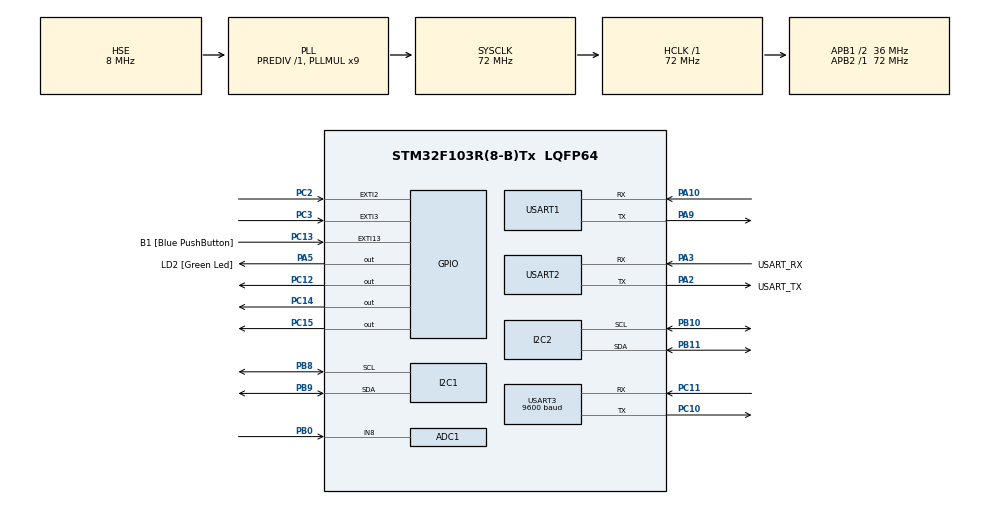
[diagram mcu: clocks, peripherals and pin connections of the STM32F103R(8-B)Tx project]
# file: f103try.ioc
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ADC1.Channel-1\#ChannelRegularConversion=ADC_CHANNEL_8
ADC1.NbrOfConversionFlag=1
ADC1.Rank-1\#ChannelRegularConversion=1
ADC1.SamplingTime-1\#ChannelRegularConversion=ADC_SAMPLETIME_1CYCLE_5
ADC1.master=1
I2C2.I2C_Mode=I2C_Standard
Mcu.Family=STM32F1
Mcu.Name=STM32F103R(8-B)Tx
Mcu.Package=LQFP64
NVIC.EXTI15_10_IRQn=true\:0\:0\:false\:false\:true\:true\:true\:true
NVIC.EXTI2_IRQn=true\:0\:0\:false\:false\:true\:true\:true\:true
NVIC.EXTI3_IRQn=true\:0\:0\:false\:false\:true\:true\:true\:true
NVIC.PriorityGroup=NVIC_PRIORITYGROUP_4
NVIC.USART3_IRQn=true\:0\:0\:false\:false\:true\:true\:true\:true
PA10.Mode=Asynchronous
PA10.Signal=USART1_RX
PA13.GPIO_Label=TMS
PA13.Mode=Serial_Wire
PA13.Signal=SYS_JTMS-SWDIO
PA14.GPIO_Label=TCK
PA14.Mode=Serial_Wire
PA14.Signal=SYS_JTCK-SWCLK
PA2.GPIO_Label=USART_TX
PA2.GPIO_Mode=GPIO_MODE_AF_PP
PA2.GPIO_PuPd=GPIO_NOPULL
PA2.GPIO_Speed=GPIO_SPEED_FREQ_LOW
PA2.Mode=Asynchronous
PA2.Signal=USART2_TX
PA3.GPIO_Label=USART_RX
PA3.GPIO_Mode=GPIO_MODE_AF_PP
PA3.GPIO_PuPd=GPIO_NOPULL
PA3.GPIO_Speed=GPIO_SPEED_FREQ_LOW
PA3.Mode=Asynchronous
PA3.Signal=USART2_RX
PA5.GPIO_Label=LD2 [Green Led]
PA5.GPIO_ModeDefaultOutputPP=GPIO_MODE_OUTPUT_PP
PA5.GPIO_PuPd=GPIO_NOPULL
PA5.GPIO_Speed=GPIO_SPEED_FREQ_LOW
PA5.Signal=GPIO_Output
PA9.Mode=Asynchronous
PA9.Signal=USART1_TX
PB0.Signal=ADCx_IN8
PB10.Mode=I2C
PB10.Signal=I2C2_SCL
PB11.Mode=I2C
PB11.Signal=I2C2_SDA
PB3.GPIO_Label=SWO
PB3.Signal=SYS_JTDO-TRACESWO
PB8.Mode=I2C
PB8.Signal=I2C1_SCL
PB9.Mode=I2C
PB9.Signal=I2C1_SDA
PC10.Mode=Asynchronous
PC10.Signal=USART3_TX
PC11.Mode=Asynchronous
PC11.Signal=USART3_RX
PC12.Signal=GPIO_Output
PC13-TAMPER-RTC.GPIO_Label=B1 [Blue PushButton]
PC13-TAMPER-RTC.GPIO_PuPd=GPIO_NOPULL
PC13-TAMPER-RTC.Signal=GPXTI13
PC14-OSC32_IN.Signal=GPIO_Output
PC15-OSC32_OUT.GPIO_ModeDefaultOutputPP=GPIO_MODE_OUTPUT_OD
PC15-OSC32_OUT.GPIO_PuPd=GPIO_NOPULL
PC15-OSC32_OUT.GPIO_Speed=GPIO_SPEED_FREQ_LOW
PC15-OSC32_OUT.Signal=GPIO_Output
PC2.GPIO_PuPd=GPIO_PULLUP
PC2.Signal=GPXTI2
PC3.GPIO_PuPd=GPIO_PULLUP
PC3.Signal=GPXTI3
PD0-OSC_IN.Mode=HSE-External-Oscillator
PD0-OSC_IN.Signal=RCC_OSC_IN
PD1-OSC_OUT.Mode=HSE-External-Oscillator
PD1-OSC_OUT.Signal=RCC_OSC_OUT
ProjectManager.HeapSize=0x200
ProjectManager.StackSize=0x400
ProjectManager.TargetToolchain=STM32CubeIDE
RCC.ADCPresc=RCC_ADCPCLK2_DIV8
RCC.AHBFreq_Value=72000000
RCC.APB1CLKDivider=RCC_HCLK_DIV2
RCC.APB1Freq_Value=36000000
RCC.APB1TimFreq_Value=72000000
RCC.APB2Freq_Value=72000000
RCC.APB2TimFreq_Value=72000000
RCC.HCLKFreq_Value=72000000
RCC.PLLMUL=RCC_PLL_MUL9
RCC.PLLSourceVirtual=RCC_PLLSOURCE_HSE
RCC.RTCClockSelection=RCC_RTCCLKSOURCE_LSE
RCC.SYSCLKFreq_VALUE=72000000
RCC.SYSCLKSource=RCC_SYSCLKSOURCE_PLLCLK
RCC.USBFreq_Value=72000000
SH.ADCx_IN8.0=ADC1_IN8,IN8
TIM1.Period=0xffff-1
TIM1.Prescaler=72-1
TIM3.Period=20
TIM3.Prescaler=7200-1
USART1.VirtualMode=VM_ASYNC
USART2.VirtualMode=VM_ASYNC
USART3.BaudRate=9600
USART3.VirtualMode=VM_ASYNC
VP_TIM1_VS_ClockSourceINT.Mode=Internal
VP_TIM3_VS_ClockSourceINT.Mode=Internal
board=NUCLEO-F103RB

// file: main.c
/* USER CODE BEGIN Header */
/**
  ******************************************************************************
  * @file           : main.c
  * @brief          : Main program body
  ******************************************************************************
  * @attention
  *
  * Copyright (c) 2024 STMicroelectronics.
  * All rights reserved.
  *
  * This software is licensed under terms that can be found in the LICENSE file
  * in the root directory of this software component.
  * If no LICENSE file comes with this software, it is provided AS-IS.
  *
  ******************************************************************************
  */
/* USER CODE END Header */
#include "main.h"

/* USER CODE BEGIN Includes */
#include <stdio.h>
#include <string.h>
#include <math.h>
#include "bmp280.h"

#include "UartRingbuffer.h"
#include "NMEA.h"

//#include "hdc1080.h"
/* USER CODE END Includes */

ADC_HandleTypeDef hadc1;

I2C_HandleTypeDef hi2c1;
I2C_HandleTypeDef hi2c2;

TIM_HandleTypeDef htim1;
TIM_HandleTypeDef htim3;

UART_HandleTypeDef huart1;
UART_HandleTypeDef huart2;
UART_HandleTypeDef huart3;

/* USER CODE BEGIN PV */

//Variabile definite pentru BMP280
BMP280_HandleTypedef bmp280;
float humidity;
float sea_hPa=101325;

/* USER CODE END PV */

void SystemClock_Config(void);
static void MX_GPIO_Init(void);
static void MX_USART2_UART_Init(void);
static void MX_TIM1_Init(void);
static void MX_I2C1_Init(void);
static void MX_I2C2_Init(void);
static void MX_ADC1_Init(void);
static void MX_USART3_UART_Init(void);
static void MX_USART1_UART_Init(void);
static void MX_TIM3_Init(void);
/* USER CODE BEGIN PFP */
#define PUTCHAR_PROTOTYPE int __io_putchar(int ch)
/* USER CODE END PFP */

/* USER CODE BEGIN 0 */

/*Printf translation to UART*/
PUTCHAR_PROTOTYPE
{
  HAL_UART_Transmit(&huart2, (uint8_t *)&ch, 1, 0xFFFF);

  return ch;
}

//Definirea variabilelor DHT22
#define DHT22_PIN GPIO_PIN_12
#define DHT22_PORT GPIOC
uint8_t RHD, RHI, TCD, TCI, SUM;
uint32_t pMillis, cMillis;
float temp=0;
float humid=0;

//Definirea funcțiilor DHT22
uint8_t DHT22_Start(void);
uint8_t DHT22_Read();

//Variabile BMP
float BMP_Temp=0;
float BMP_Press=0;
float BMP_Alt =0;

/*Variabile HDC1080*/
uint16_t HDC_temp;
uint16_t HDC_humi;
uint8_t read_data[2];
uint16_t reg=0;

//Declararea parametrilor pentru GPS
char GGA[80];
GPSSTRUCT gpsData;

/*Definirea parametrilor LCD*/
#define LCD_I2C_ADDR 0x27
#define RS_BIT 0
#define EN_BIT 2
#define BL_BIT 3
#define D4_BIT 4
#define D5_BIT 5
#define D6_BIT 6
#define D7_BIT 7
#define LCD_ROWS 2
#define LCD_COLS 16
uint8_t backlight_state = 1;
extern volatile uint8_t press_count;

/*Declararea funcțiilor LCD*/
void lcd_write_nibble(uint8_t nibble, uint8_t rs);
void lcd_send_cmd(uint8_t cmd);
void lcd_send_data(uint8_t data);
void lcd_init();
void lcd_write_string(char *str);
void lcd_set_cursor(uint8_t row, uint8_t column);
void lcd_clear(void);
void lcd_backlight(uint8_t state);

//delay function in microseconds
void delay (uint16_t time)
{
	__HAL_TIM_SET_COUNTER(&htim1, 0);
	while ((__HAL_TIM_GET_COUNTER(&htim1))<time);
}

#define HDC1080_ADDRESS 0x40 << 1  // Adresa HDC1080
HAL_StatusTypeDef HDC1080_Init(void);
HAL_StatusTypeDef HDC1080_ReadTempHumidity(uint16_t *temperature, uint16_t *humidity);

#define CCS811_ADDRESS 0x5A << 1   // Adresa CCS811 (0x5A << 1 pentru formatul HAL)
HAL_StatusTypeDef CCS811_SoftReset(void);
HAL_StatusTypeDef CCS811_Init(void);
HAL_StatusTypeDef CCS811_ReadData(uint16_t *eco2, uint16_t *tvoc);
void CCS811_Env(float temperature, float humidity);

char ESP_msg[50];

/* USER CODE END 0 */

int main(void)
{

  /* MCU Configuration--------------------------------------------------------*/

  /* Reset of all peripherals, Initializes the Flash interface and the Systick. */
  HAL_Init();

  /* Configure the system clock */
  SystemClock_Config();

  /* Initialize all configured peripherals */
  MX_GPIO_Init();
  MX_USART2_UART_Init();
  MX_TIM1_Init();
  MX_I2C1_Init();
  MX_I2C2_Init();
  MX_ADC1_Init();
  MX_USART3_UART_Init();
  MX_USART1_UART_Init();
  MX_TIM3_Init();
  /* USER CODE BEGIN 2 */

  HAL_TIM_Base_Start(&htim1);
  HAL_ADCEx_Calibration_Start(&hadc1);

  PWR->CR |= PWR_CR_DBP;

  // Dezactivează LSE
  RCC->BDCR &= ~RCC_BDCR_LSEON;

  // Dezactivează alimentarea domeniului de backup
  RCC->BDCR &= ~RCC_BDCR_BDRST;

  //Inițializare LCD
  lcd_init();
  lcd_backlight(1); // Turn on backlight
  char int_to_str_1[20];
  char int_to_str_2[20];

  //Inițializare BMP280
  bmp280_init_default_params(&bmp280.params);
  bmp280.addr = BMP280_I2C_ADDRESS_0;
  bmp280.i2c = &hi2c2;

  while (!bmp280_init(&bmp280, &bmp280.params)) {
  	printf("BMP280 initialization failed\n\r");
  	HAL_Delay(2000);
  	break;
  }

  // Inițializare Buffer circular
  Ringbuf_init();
  HAL_Delay(500);

  // Inițializare HDC1080 și CCS811
  if(HDC1080_Init()!= HAL_OK){
	  printf("Nu merge HDC\n\r");
	  HAL_Delay(1000);
  }
  if (CCS811_Init() != HAL_OK) {
	  printf("Nu merge CCS\n\r");
  }
  uint16_t eco2, tvoc;
  float tempC, humRH;
  float latitude=44.4,longitutde=26.06;
  float UVIndex=0;

  /* USER CODE END 2 */

  /* Infinite loop */
  /* USER CODE BEGIN WHILE */
  while (1)
  {
	  //DHT22 ---------------------------------------------------------------------
	  if(DHT22_Start())
	  {
		  RHI = DHT22_Read();
		  RHD = DHT22_Read();
		  TCI = DHT22_Read();
		  TCD = DHT22_Read();
		  SUM = DHT22_Read();
		  printf("RHI: %u RHD: %u TCI: %u TCD %u SUM: %u \n\r",RHI,RHD, TCI,TCD,SUM);

		  if(TCI>127)
		  {
		  temp= (float)TCD/10*(-1);
		  }
		  else
		  {
		  temp = (float)((TCI<<8)|TCD)/10;
		  }
		  humid = (float)((RHI<<8|RHD))/10;
		  printf("%.1f %.1f\n\r",temp,humid);
	  }
	  HAL_Delay(1000);
	  //------------------------------------------------------------------------

	  //GY-NEO6MV2--------------------------------------------------------------
	  if(Wait_for("GGA")==1){
		  Copy_upto("*", GGA);
		  decodeGGA(GGA,&gpsData.ggastruct);
		  if(gpsData.ggastruct.lcation.latitude!=0){
			  latitude=gpsData.ggastruct.lcation.latitude;
		  }
		  if(gpsData.ggastruct.lcation.longitude!=0){
			  longitutde=gpsData.ggastruct.lcation.longitude;
		  }
		  printf("lat: %.5lf",gpsData.ggastruct.lcation.latitude);
		  printf(" long: %.5lf \n\r",gpsData.ggastruct.lcation.longitude);
	  }
	  HAL_Delay(1000);
	  //------------------------------------------------------------------------

	  //BMP280 -----------------------------------------------------------------
	  while (!bmp280_read_float(&bmp280, &BMP_Temp, &BMP_Press, &humidity)) {
	  	printf("Temperature/pressure reading failed\n\r");
	  	HAL_Delay(2000);
	  }

	  BMP_Alt= 44330*(1.0- pow(BMP_Press/sea_hPa, 0.1903));
	  printf("Pressure: %.2f Pa, Temp: %.2f C, Alt: %.2f \n\r",BMP_Press, BMP_Temp, BMP_Alt);

	  HAL_Delay(500);
	  //------------------------------------------------------------------------

	  // HDC și CCS811 ---------------------------------------------------------
	  if (HDC1080_ReadTempHumidity(&HDC_temp, &HDC_humi) == HAL_OK)
	  {
		  tempC = (HDC_temp / 65536.0) * 165.0 - 40.0;
	      humRH = (HDC_humi / 65536.0) * 100.0;
	      printf("HDC_temp: %.2f  HDC_humi: %.2f \n\r",tempC,humRH);
	      CCS811_Env(tempC, humRH);
	  }
	  if (CCS811_ReadData(&eco2, &tvoc) == HAL_OK) {
		  printf("ECO: %u TVOC: %u \n\r",eco2,tvoc);
	  }
	  HAL_Delay(1000);
	  //------------------------------------------------------------------------

	  // UV light sensor--------------------------------------------------------
	  HAL_ADC_Start(&hadc1);
	  if (HAL_ADC_PollForConversion(&hadc1, HAL_MAX_DELAY) == HAL_OK)
	  {
	        uint32_t adcValue = HAL_ADC_GetValue(&hadc1);
	        float voltage = (adcValue / 4095.0) * 5;
	        float current= voltage/4.3;
	        UVIndex=voltage/0.1;
	        printf("UV voltage: %.2f UV phcurrent: %.2f Index: %.0f\n\r",voltage, current, voltage/0.1);
	  }
	  //------------------------------------------------------------------------

	  // ESP8266-----------------------------------------------------------------------------
	  snprintf(ESP_msg,sizeof(ESP_msg),"%.2f,%.2f,%.2f,%.1f,%u,%u,%.5f,%.5f\n",temp,humid,BMP_Press,UVIndex,eco2,tvoc,latitude,longitutde);
	  HAL_UART_Transmit(&huart1, (uint8_t*)ESP_msg, strlen(ESP_msg), HAL_MAX_DELAY);
	  //------------------------------------------------------------------------

	  //LCD --------------------------------------------------------------------
  	  switch(press_count){
  	  case 0:
  		  	  char *str1 = "Temperature:";
  		  	  char *str2 = "Humidity:";

  		  	  sprintf(int_to_str_1, "%.1f", tempC);
  		  	  lcd_clear();
  		  	  lcd_set_cursor(0, 0);
  		  	  lcd_write_string(str1);
  		  	  lcd_set_cursor(0, 12);
  		  	  lcd_write_string(int_to_str_1);

  		  	  sprintf(int_to_str_2, "%.1f", humRH);
  		  	  lcd_set_cursor(1, 0);
  		  	  lcd_write_string(str2);
  		  	  lcd_set_cursor(1, 12);
  		  	  lcd_write_string(int_to_str_2);

  		  	  memset(int_to_str_1, 0, sizeof(int_to_str_1));
  		  	  memset(int_to_str_2, 0, sizeof(int_to_str_2));
  		  break;
  	  case 1:
  		  	  char *str3 = "eCO2:";
  		  	  char *str4 = "TVOC:";

  		  	  sprintf(int_to_str_1, "%d", eco2);
  		  	  lcd_clear();
  		  	  lcd_set_cursor(0, 0);
  		  	  lcd_write_string(str3);
  		  	  lcd_set_cursor(0, 10);
  		  	  lcd_write_string(int_to_str_1);

  		  	  sprintf(int_to_str_2, "%d", tvoc);
  		  	  lcd_set_cursor(1, 0);
  		  	  lcd_write_string(str4);
  		  	  lcd_set_cursor(1, 10);
  		  	  lcd_write_string(int_to_str_2);

  		  	  memset(int_to_str_1, 0, sizeof(int_to_str_1));
  		  	  memset(int_to_str_2, 0, sizeof(int_to_str_2));
  		  break;
  	  case 2:
  		  	  char *str5 = "Pressure:";
  		  	  char *str6 = "UVI:";

  		  	  sprintf(int_to_str_1, "%.2f", BMP_Press);
  		  	  lcd_clear();
  		  	  lcd_set_cursor(0, 0);
  		  	  lcd_write_string(str5);
  		  	  lcd_set_cursor(0, 10);
  		  	  lcd_write_string(int_to_str_1);

  		  	  sprintf(int_to_str_2, "%.1f", UVIndex);
  		  	  lcd_set_cursor(1, 0);
  		  	  lcd_write_string(str6);
  		  	  lcd_set_cursor(1, 10);
  		  	  lcd_write_string(int_to_str_2);

  		  	  memset(int_to_str_1, 0, sizeof(int_to_str_1));
  		  	  memset(int_to_str_2, 0, sizeof(int_to_str_2));
  		  break;
  	  case 3:
  		  	  char *str7 = "Lat:";
  		  	  char *str8 = "Long:";

  		  	  sprintf(int_to_str_1, "%.4f", latitude);
  		  	  lcd_clear();
  		  	  lcd_set_cursor(0, 0);
  		  	  lcd_write_string(str7);
  		  	  lcd_set_cursor(0, 8);
  		  	  lcd_write_string(int_to_str_1);

  		  	  sprintf(int_to_str_2, "%.4f", longitutde);
  		  	  lcd_set_cursor(1, 0);
  		  	  lcd_write_string(str8);
  		  	  lcd_set_cursor(1, 8);
  		  	  lcd_write_string(int_to_str_2);

  		  	  memset(int_to_str_1, 0, sizeof(int_to_str_1));
  		  	  memset(int_to_str_2, 0, sizeof(int_to_str_2));
  		  break;
  	  }
  	//------------------------------------------------------------------------
  	// Buzzer-----------------------------------------------------------------
  	  if((UVIndex >= 7) || (eco2>=2300) || (tvoc>=500)){
  		HAL_GPIO_TogglePin(GPIOC, GPIO_PIN_15);
  		HAL_Delay(100);
  		HAL_GPIO_TogglePin(GPIOC, GPIO_PIN_15);
  		HAL_Delay(100);
  		HAL_GPIO_TogglePin(GPIOC, GPIO_PIN_15);
  		HAL_Delay(100);
  		HAL_GPIO_TogglePin(GPIOC, GPIO_PIN_15);
  		HAL_Delay(100);
  		HAL_GPIO_TogglePin(GPIOC, GPIO_PIN_15);
  		HAL_Delay(100);
  	  }
  	  //------------------------------------------------------------------------
    /* USER CODE END WHILE */

  }
}

void SystemClock_Config(void)
{
  RCC_OscInitTypeDef RCC_OscInitStruct = {0};
  RCC_ClkInitTypeDef RCC_ClkInitStruct = {0};
  RCC_PeriphCLKInitTypeDef PeriphClkInit = {0};

  /** Initializes the RCC Oscillators according to the specified parameters
  * in the RCC_OscInitTypeDef structure.
  */
  RCC_OscInitStruct.OscillatorType = RCC_OSCILLATORTYPE_HSE;
  RCC_OscInitStruct.HSEState = RCC_HSE_ON;
  RCC_OscInitStruct.HSEPredivValue = RCC_HSE_PREDIV_DIV1;
  RCC_OscInitStruct.HSIState = RCC_HSI_ON;
  RCC_OscInitStruct.PLL.PLLState = RCC_PLL_ON;
  RCC_OscInitStruct.PLL.PLLSource = RCC_PLLSOURCE_HSE;
  RCC_OscInitStruct.PLL.PLLMUL = RCC_PLL_MUL9;
  if (HAL_RCC_OscConfig(&RCC_OscInitStruct) != HAL_OK)
  {
    Error_Handler();
  }

  /** Initializes the CPU, AHB and APB buses clocks
  */
  RCC_ClkInitStruct.ClockType = RCC_CLOCKTYPE_HCLK|RCC_CLOCKTYPE_SYSCLK
                              |RCC_CLOCKTYPE_PCLK1|RCC_CLOCKTYPE_PCLK2;
  RCC_ClkInitStruct.SYSCLKSource = RCC_SYSCLKSOURCE_PLLCLK;
  RCC_ClkInitStruct.AHBCLKDivider = RCC_SYSCLK_DIV1;
  RCC_ClkInitStruct.APB1CLKDivider = RCC_HCLK_DIV2;
  RCC_ClkInitStruct.APB2CLKDivider = RCC_HCLK_DIV1;

  if (HAL_RCC_ClockConfig(&RCC_ClkInitStruct, FLASH_LATENCY_2) != HAL_OK)
  {
    Error_Handler();
  }
  PeriphClkInit.PeriphClockSelection = RCC_PERIPHCLK_ADC;
  PeriphClkInit.AdcClockSelection = RCC_ADCPCLK2_DIV8;
  if (HAL_RCCEx_PeriphCLKConfig(&PeriphClkInit) != HAL_OK)
  {
    Error_Handler();
  }
}

static void MX_ADC1_Init(void)
{

  ADC_ChannelConfTypeDef sConfig = {0};

  /** Common config
  */
  hadc1.Instance = ADC1;
  hadc1.Init.ScanConvMode = ADC_SCAN_DISABLE;
  hadc1.Init.ContinuousConvMode = DISABLE;
  hadc1.Init.DiscontinuousConvMode = DISABLE;
  hadc1.Init.ExternalTrigConv = ADC_SOFTWARE_START;
  hadc1.Init.DataAlign = ADC_DATAALIGN_RIGHT;
  hadc1.Init.NbrOfConversion = 1;
  if (HAL_ADC_Init(&hadc1) != HAL_OK)
  {
    Error_Handler();
  }

  /** Configure Regular Channel
  */
  sConfig.Channel = ADC_CHANNEL_8;
  sConfig.Rank = ADC_REGULAR_RANK_1;
  sConfig.SamplingTime = ADC_SAMPLETIME_1CYCLE_5;
  if (HAL_ADC_ConfigChannel(&hadc1, &sConfig) != HAL_OK)
  {
    Error_Handler();
  }

}

static void MX_I2C1_Init(void)
{

  hi2c1.Instance = I2C1;
  hi2c1.Init.ClockSpeed = 100000;
  hi2c1.Init.DutyCycle = I2C_DUTYCYCLE_2;
  hi2c1.Init.OwnAddress1 = 0;
  hi2c1.Init.AddressingMode = I2C_ADDRESSINGMODE_7BIT;
  hi2c1.Init.DualAddressMode = I2C_DUALADDRESS_DISABLE;
  hi2c1.Init.OwnAddress2 = 0;
  hi2c1.Init.GeneralCallMode = I2C_GENERALCALL_DISABLE;
  hi2c1.Init.NoStretchMode = I2C_NOSTRETCH_DISABLE;
  if (HAL_I2C_Init(&hi2c1) != HAL_OK)
  {
    Error_Handler();
  }

}

static void MX_I2C2_Init(void)
{

  hi2c2.Instance = I2C2;
  hi2c2.Init.ClockSpeed = 100000;
  hi2c2.Init.DutyCycle = I2C_DUTYCYCLE_2;
  hi2c2.Init.OwnAddress1 = 0;
  hi2c2.Init.AddressingMode = I2C_ADDRESSINGMODE_7BIT;
  hi2c2.Init.DualAddressMode = I2C_DUALADDRESS_DISABLE;
  hi2c2.Init.OwnAddress2 = 0;
  hi2c2.Init.GeneralCallMode = I2C_GENERALCALL_DISABLE;
  hi2c2.Init.NoStretchMode = I2C_NOSTRETCH_DISABLE;
  if (HAL_I2C_Init(&hi2c2) != HAL_OK)
  {
    Error_Handler();
  }

}

static void MX_TIM1_Init(void)
{

  TIM_ClockConfigTypeDef sClockSourceConfig = {0};
  TIM_MasterConfigTypeDef sMasterConfig = {0};

  htim1.Instance = TIM1;
  htim1.Init.Prescaler = 72-1;
  htim1.Init.CounterMode = TIM_COUNTERMODE_UP;
  htim1.Init.Period = 0xffff-1;
  htim1.Init.ClockDivision = TIM_CLOCKDIVISION_DIV1;
  htim1.Init.RepetitionCounter = 0;
  htim1.Init.AutoReloadPreload = TIM_AUTORELOAD_PRELOAD_DISABLE;
  if (HAL_TIM_Base_Init(&htim1) != HAL_OK)
  {
    Error_Handler();
  }
  sClockSourceConfig.ClockSource = TIM_CLOCKSOURCE_INTERNAL;
  if (HAL_TIM_ConfigClockSource(&htim1, &sClockSourceConfig) != HAL_OK)
  {
    Error_Handler();
  }
  sMasterConfig.MasterOutputTrigger = TIM_TRGO_RESET;
  sMasterConfig.MasterSlaveMode = TIM_MASTERSLAVEMODE_DISABLE;
  if (HAL_TIMEx_MasterConfigSynchronization(&htim1, &sMasterConfig) != HAL_OK)
  {
    Error_Handler();
  }

}

static void MX_TIM3_Init(void)
{

  TIM_ClockConfigTypeDef sClockSourceConfig = {0};
  TIM_MasterConfigTypeDef sMasterConfig = {0};

  htim3.Instance = TIM3;
  htim3.Init.Prescaler = 7200-1;
  htim3.Init.CounterMode = TIM_COUNTERMODE_UP;
  htim3.Init.Period = 20;
  htim3.Init.ClockDivision = TIM_CLOCKDIVISION_DIV1;
  htim3.Init.AutoReloadPreload = TIM_AUTORELOAD_PRELOAD_DISABLE;
  if (HAL_TIM_Base_Init(&htim3) != HAL_OK)
  {
    Error_Handler();
  }
  sClockSourceConfig.ClockSource = TIM_CLOCKSOURCE_INTERNAL;
  if (HAL_TIM_ConfigClockSource(&htim3, &sClockSourceConfig) != HAL_OK)
  {
    Error_Handler();
  }
  sMasterConfig.MasterOutputTrigger = TIM_TRGO_RESET;
  sMasterConfig.MasterSlaveMode = TIM_MASTERSLAVEMODE_DISABLE;
  if (HAL_TIMEx_MasterConfigSynchronization(&htim3, &sMasterConfig) != HAL_OK)
  {
    Error_Handler();
  }

}

static void MX_USART1_UART_Init(void)
{

  huart1.Instance = USART1;
  huart1.Init.BaudRate = 115200;
  huart1.Init.WordLength = UART_WORDLENGTH_8B;
  huart1.Init.StopBits = UART_STOPBITS_1;
  huart1.Init.Parity = UART_PARITY_NONE;
  huart1.Init.Mode = UART_MODE_TX_RX;
  huart1.Init.HwFlowCtl = UART_HWCONTROL_NONE;
  huart1.Init.OverSampling = UART_OVERSAMPLING_16;
  if (HAL_UART_Init(&huart1) != HAL_OK)
  {
    Error_Handler();
  }

}

static void MX_USART2_UART_Init(void)
{

  huart2.Instance = USART2;
  huart2.Init.BaudRate = 115200;
  huart2.Init.WordLength = UART_WORDLENGTH_8B;
  huart2.Init.StopBits = UART_STOPBITS_1;
  huart2.Init.Parity = UART_PARITY_NONE;
  huart2.Init.Mode = UART_MODE_TX_RX;
  huart2.Init.HwFlowCtl = UART_HWCONTROL_NONE;
  huart2.Init.OverSampling = UART_OVERSAMPLING_16;
  if (HAL_UART_Init(&huart2) != HAL_OK)
  {
    Error_Handler();
  }

}

static void MX_USART3_UART_Init(void)
{

  huart3.Instance = USART3;
  huart3.Init.BaudRate = 9600;
  huart3.Init.WordLength = UART_WORDLENGTH_8B;
  huart3.Init.StopBits = UART_STOPBITS_1;
  huart3.Init.Parity = UART_PARITY_NONE;
  huart3.Init.Mode = UART_MODE_TX_RX;
  huart3.Init.HwFlowCtl = UART_HWCONTROL_NONE;
  huart3.Init.OverSampling = UART_OVERSAMPLING_16;
  if (HAL_UART_Init(&huart3) != HAL_OK)
  {
    Error_Handler();
  }

}

static void MX_GPIO_Init(void)
{
  GPIO_InitTypeDef GPIO_InitStruct = {0};

  /* GPIO Ports Clock Enable */
  __HAL_RCC_GPIOC_CLK_ENABLE();
  __HAL_RCC_GPIOD_CLK_ENABLE();
  __HAL_RCC_GPIOA_CLK_ENABLE();
  __HAL_RCC_GPIOB_CLK_ENABLE();

  /*Configure GPIO pin Output Level */
  HAL_GPIO_WritePin(GPIOC, GPIO_PIN_14|GPIO_PIN_15|GPIO_PIN_12, GPIO_PIN_RESET);

  /*Configure GPIO pin Output Level */
  HAL_GPIO_WritePin(LD2_GPIO_Port, LD2_Pin, GPIO_PIN_RESET);

  /*Configure GPIO pin : B1_Pin */
  GPIO_InitStruct.Pin = B1_Pin;
  GPIO_InitStruct.Mode = GPIO_MODE_IT_RISING;
  GPIO_InitStruct.Pull = GPIO_NOPULL;
  HAL_GPIO_Init(B1_GPIO_Port, &GPIO_InitStruct);

  /*Configure GPIO pins : PC14 PC12 */
  GPIO_InitStruct.Pin = GPIO_PIN_14|GPIO_PIN_12;
  GPIO_InitStruct.Mode = GPIO_MODE_OUTPUT_PP;
  GPIO_InitStruct.Pull = GPIO_NOPULL;
  GPIO_InitStruct.Speed = GPIO_SPEED_FREQ_LOW;
  HAL_GPIO_Init(GPIOC, &GPIO_InitStruct);

  /*Configure GPIO pin : PC15 */
  GPIO_InitStruct.Pin = GPIO_PIN_15;
  GPIO_InitStruct.Mode = GPIO_MODE_OUTPUT_OD;
  GPIO_InitStruct.Pull = GPIO_NOPULL;
  GPIO_InitStruct.Speed = GPIO_SPEED_FREQ_LOW;
  HAL_GPIO_Init(GPIOC, &GPIO_InitStruct);

  /*Configure GPIO pins : PC2 PC3 */
  GPIO_InitStruct.Pin = GPIO_PIN_2|GPIO_PIN_3;
  GPIO_InitStruct.Mode = GPIO_MODE_IT_RISING;
  GPIO_InitStruct.Pull = GPIO_PULLUP;
  HAL_GPIO_Init(GPIOC, &GPIO_InitStruct);

  /*Configure GPIO pin : LD2_Pin */
  GPIO_InitStruct.Pin = LD2_Pin;
  GPIO_InitStruct.Mode = GPIO_MODE_OUTPUT_PP;
  GPIO_InitStruct.Pull = GPIO_NOPULL;
  GPIO_InitStruct.Speed = GPIO_SPEED_FREQ_LOW;
  HAL_GPIO_Init(LD2_GPIO_Port, &GPIO_InitStruct);

  /* EXTI interrupt init*/
  HAL_NVIC_SetPriority(EXTI2_IRQn, 0, 0);
  HAL_NVIC_EnableIRQ(EXTI2_IRQn);

  HAL_NVIC_SetPriority(EXTI3_IRQn, 0, 0);
  HAL_NVIC_EnableIRQ(EXTI3_IRQn);

  HAL_NVIC_SetPriority(EXTI15_10_IRQn, 0, 0);
  HAL_NVIC_EnableIRQ(EXTI15_10_IRQn);

}

/* USER CODE BEGIN 4 */

// Temperature and humidity sensor-----------------------------------------
uint8_t DHT22_Start(void)
{
	uint8_t Response=0;

	GPIO_InitTypeDef GPIO_InitStruct = {0};
	GPIO_InitStruct.Pin = DHT22_PIN;
	GPIO_InitStruct.Mode = GPIO_MODE_OUTPUT_PP;
	GPIO_InitStruct.Speed = GPIO_SPEED_FREQ_LOW;
	HAL_GPIO_Init(DHT22_PORT, &GPIO_InitStruct);

	HAL_GPIO_WritePin(DHT22_PORT, DHT22_PIN, 0);
	delay(18000);
	HAL_GPIO_WritePin(DHT22_PORT, DHT22_PIN, 1);
	delay(30);

	GPIO_InitStruct.Mode = GPIO_MODE_INPUT;
	GPIO_InitStruct.Pull = GPIO_PULLUP;
	HAL_GPIO_Init(DHT22_PORT, &GPIO_InitStruct);

	delay(40);
	if(!(HAL_GPIO_ReadPin(DHT22_PORT, DHT22_PIN)))
	{
		delay(80);
		if((HAL_GPIO_ReadPin(DHT22_PORT, DHT22_PIN)))Response=1;
		else Response=-1;
	}
	pMillis = HAL_GetTick();
	cMillis = HAL_GetTick();
	while ((HAL_GPIO_ReadPin (DHT22_PORT, DHT22_PIN)) && pMillis + 2 > cMillis)
    {
		cMillis = HAL_GetTick();
	}
	return Response;
}

uint8_t DHT22_Read()
{
	uint8_t x,y;
	for (x=0;x<8;x++)
	{
	    pMillis = HAL_GetTick();
	    cMillis = HAL_GetTick();
	    while (!(HAL_GPIO_ReadPin (DHT22_PORT, DHT22_PIN)) && pMillis + 2 > cMillis)
	    {
	      cMillis = HAL_GetTick();
	    }
	    delay(50);
	    if (!(HAL_GPIO_ReadPin (DHT22_PORT, DHT22_PIN)))
	      y&= ~(1<<(7-x));
	    else
	      y|= (1<<(7-x));
	    pMillis = HAL_GetTick();
	    cMillis = HAL_GetTick();
	    while ((HAL_GPIO_ReadPin (DHT22_PORT, DHT22_PIN)) && pMillis + 2 > cMillis)
	    {  // wait for the pin to go low
	      cMillis = HAL_GetTick();
	    }
	}
	return y;
}

HAL_StatusTypeDef HDC1080_Init(void) {
    uint8_t buffer[3];
    buffer[0] = 0x02;  // Adresa registrului de configurare
    buffer[1] = 0x10;  // Configurație: mod de achiziție umiditate și temperatură
    buffer[2] = 0x00;  // Configurație standard

    return HAL_I2C_Master_Transmit(&hi2c2, HDC1080_ADDRESS, buffer, 3, HAL_MAX_DELAY);
}

HAL_StatusTypeDef HDC1080_ReadTempHumidity(uint16_t *temperature, uint16_t *humidity) {
    uint8_t buffer[4];
    uint8_t command = 0x00;  // Comandă pentru a citi temperatura și umiditatea
    HAL_StatusTypeDef ret;

    // Trimite comanda pentru a citi temperatura și umiditatea
    ret = HAL_I2C_Master_Transmit(&hi2c2, HDC1080_ADDRESS, &command, 1, HAL_MAX_DELAY);
    if (ret != HAL_OK) {
        return ret;
    }

    // Asteapta timpul necesar pentru masurare (maxim 15 ms)
    HAL_Delay(15);

    // Citeste 4 octeti (2 pentru temperatura, 2 pentru umiditate)
    ret = HAL_I2C_Master_Receive(&hi2c2, HDC1080_ADDRESS, buffer, 4, HAL_MAX_DELAY);
    if (ret != HAL_OK) {
        return ret;
    }

    // Convertim valorile citite
    *temperature = (buffer[0] << 8) | buffer[1];
    *humidity = (buffer[2] << 8) | buffer[3];

    return HAL_OK;
}
//----------------------------------------------------------------------

//CCS811 functions------------------------------------------------------
HAL_StatusTypeDef CCS811_SoftReset(void) {
    uint8_t buffer[4] = {0x11, 0xE5, 0x72, 0x8A};  // Secvența de reset

    HAL_StatusTypeDef ret = HAL_I2C_Mem_Write(&hi2c2, CCS811_ADDRESS, 0xFF, I2C_MEMADD_SIZE_8BIT, buffer, 4, HAL_MAX_DELAY);
    HAL_Delay(100);  // Așteaptă după reset
    if (ret != HAL_OK) {
    	printf("Failed to perform software reset: %d\n\r", ret);
    }
    return ret;
}

HAL_StatusTypeDef CCS811_Init(void) {
    HAL_StatusTypeDef ret;

    // Soft reset pentru senzor
    ret = CCS811_SoftReset();
    if (ret != HAL_OK) {
        return ret;
    }

    // Verifică starea senzorului după reset
    uint8_t status;
    ret = HAL_I2C_Mem_Read(&hi2c2, CCS811_ADDRESS, 0x00, I2C_MEMADD_SIZE_8BIT, &status, 1, HAL_MAX_DELAY);
    //printf("Status215 %u \n\r",status);
    if (ret != HAL_OK) {
    	return ret;
    }

    uint8_t error_data=0;
    // Read the error register
    ret = HAL_I2C_Mem_Read(&hi2c2, CCS811_ADDRESS, 0xE0, I2C_MEMADD_SIZE_8BIT, &error_data, 1, HAL_MAX_DELAY);
    //printf("Status223 %u ERROR: %u \n\r",status,error_data);
    if (ret != HAL_OK) {
    	printf("ERR STAT: %u\n\r",error_data);
    	return ret;
    }

    uint8_t app_start_cmd =0xF4; //Starting App
    ret = HAL_I2C_Mem_Write(&hi2c2, CCS811_ADDRESS, app_start_cmd,1,0,0,HAL_MAX_DELAY);
    if (ret != HAL_OK) {
    	printf("Failed to start application mode: %d\n\r", ret);
        return ret;
    }

    uint8_t desired_mode= 0x10;
    ret= HAL_I2C_Mem_Write(&hi2c2, CCS811_ADDRESS, 0x01, I2C_MEMADD_SIZE_8BIT, &desired_mode, 1, HAL_MAX_DELAY);
    //printf("%d",ret);

    uint8_t mode = 0;
    ret = HAL_I2C_Mem_Read(&hi2c2, CCS811_ADDRESS, 0x01, I2C_MEMADD_SIZE_8BIT, &mode, 1, HAL_MAX_DELAY);
    //printf("Mode : %u \n\r",mode);

    HAL_Delay(1000);

    return HAL_OK;
}

HAL_StatusTypeDef CCS811_ReadData(uint16_t *eco2, uint16_t *tvoc) {
    uint8_t buffer[8];
    uint8_t status;
    HAL_StatusTypeDef ret;

    // Verificare disponibilitate date
    ret = HAL_I2C_Mem_Read(&hi2c2, CCS811_ADDRESS, 0x00, I2C_MEMADD_SIZE_8BIT, &status, 1, HAL_MAX_DELAY);
    //printf("Status %u \n\r",status);
    if (ret != HAL_OK) {
           return ret;
       }
    // Citire date
    ret = HAL_I2C_Mem_Read(&hi2c2, CCS811_ADDRESS, 0x02, I2C_MEMADD_SIZE_8BIT, buffer, 8, HAL_MAX_DELAY);
    //printf("ajunge pana aici\n\r");
    if (ret != HAL_OK) {
        return ret;
    }

    *eco2 = (buffer[0] << 8) | buffer[1];
    *tvoc = (buffer[2] << 8) | buffer[3];

    ret = HAL_I2C_Mem_Read(&hi2c2, CCS811_ADDRESS, 0x00, I2C_MEMADD_SIZE_8BIT, &status, 1, HAL_MAX_DELAY);
        //printf("Status %u \n\r",status);
        if (ret != HAL_OK) {
               return ret;
           }

    return HAL_OK;
}

void CCS811_Env(float temperature, float humidity) {
	uint8_t env[4];
	uint8_t Env_Data=0x05;
	HAL_StatusTypeDef ret;

	uint16_t temp = (uint16_t)round(temperature * 512.0);
	env[0] = (temp >>8) & 0xFF;
	env[1] =  temp & 0xFF;

	int16_t hum = (int16_t)round(humidity * 512.0);
	env[2] = (hum >> 8) & 0xFF;
	env[3] = hum & 0xFF;

	ret = HAL_I2C_Mem_Write(&hi2c2, CCS811_ADDRESS, Env_Data, 1, env, 4, HAL_MAX_DELAY);
	if(ret != HAL_OK){
		//printf("Nu mere env setting\n\r");
	}
	//printf(" A  AJUNS ACII\n\r");

}
//----------------------------------------------------------------------

//LCD functions --------------------------------------------------------
void lcd_write_nibble(uint8_t nibble, uint8_t rs) {
  uint8_t data = nibble << D4_BIT;
  data |= rs << RS_BIT;
  data |= backlight_state << BL_BIT; // Include backlight state in data
  data |= 1 << EN_BIT;
  HAL_I2C_Master_Transmit(&hi2c1, LCD_I2C_ADDR << 1, &data, 1, 100);
  HAL_Delay(1);
  data &= ~(1 << EN_BIT);
  HAL_I2C_Master_Transmit(&hi2c1, LCD_I2C_ADDR << 1, &data, 1, 100);
}

void lcd_send_cmd(uint8_t cmd) {
  uint8_t upper_nibble = cmd >> 4;
  uint8_t lower_nibble = cmd & 0x0F;
  lcd_write_nibble(upper_nibble, 0);
  lcd_write_nibble(lower_nibble, 0);
  if (cmd == 0x01 || cmd == 0x02) {
    HAL_Delay(2);
  }
}

void lcd_send_data(uint8_t data) {
  uint8_t upper_nibble = data >> 4;
  uint8_t lower_nibble = data & 0x0F;
  lcd_write_nibble(upper_nibble, 1);
  lcd_write_nibble(lower_nibble, 1);
}

void lcd_init() {
  HAL_Delay(50);
  lcd_write_nibble(0x03, 0);
  HAL_Delay(5);
  lcd_write_nibble(0x03, 0);
  HAL_Delay(1);
  lcd_write_nibble(0x03, 0);
  HAL_Delay(1);
  lcd_write_nibble(0x02, 0);
  lcd_send_cmd(0x28);
  lcd_send_cmd(0x0C);
  lcd_send_cmd(0x06);
  lcd_send_cmd(0x01);
  HAL_Delay(2);
}

void lcd_write_string(char *str) {
  while (*str) {
    lcd_send_data(*str++);
  }
}

void lcd_set_cursor(uint8_t row, uint8_t column) {
    uint8_t address;
    switch (row) {
        case 0:
            address = 0x00;
            break;
        case 1:
            address = 0x40;
            break;
        default:
            address = 0x00;
    }
    address += column;
    lcd_send_cmd(0x80 | address);
}

void lcd_clear(void) {
	lcd_send_cmd(0x01);
    HAL_Delay(2);
}

void lcd_backlight(uint8_t state) {
  if (state) {
    backlight_state = 1;
  } else {
    backlight_state = 0;
  }
}
//End of LCD functions -----------------------------------------------------
void HAL_GPIO_EXTI_Callback(uint16_t GPIO_Pin)
{
	if(GPIO_Pin==B1_Pin){
		press_count++;
				if(press_count>3)
					press_count=0;
	}
	if(GPIO_Pin==GPIO_PIN_2){
		if(HAL_GPIO_ReadPin(GPIOC, GPIO_PIN_2)== GPIO_PIN_RESET){
								if(press_count==0){
									press_count=3;
								}else
									press_count--;

							}
		}
/*

*/

}

/* USER CODE END 4 */

void Error_Handler(void)
{
  __disable_irq();
  while (1)
  {
  }
}
